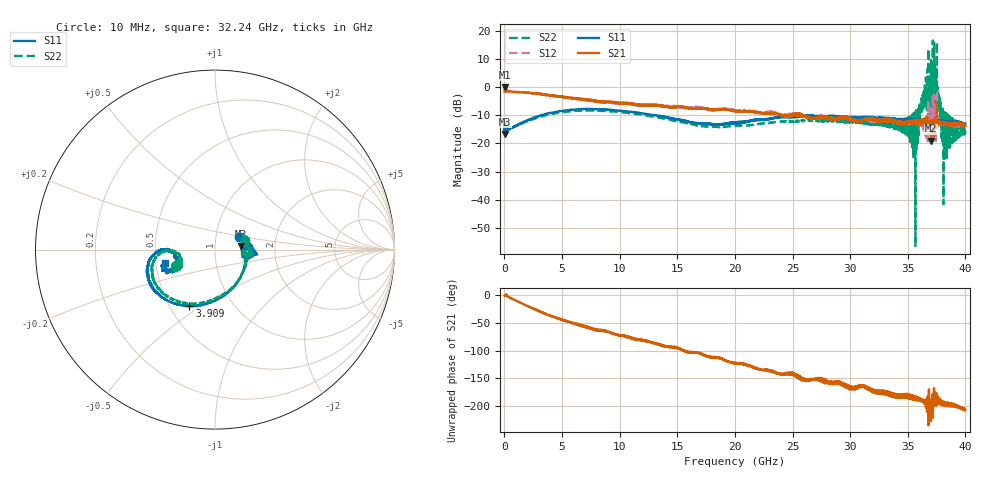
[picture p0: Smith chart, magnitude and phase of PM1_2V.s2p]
!Agilent Technologies,E8361A,US43140833,A.07.50.48
!Agilent E8361A: A.07.50.48
!Date: Sunday, January 17, 2016 15:48:53
!Correction: S11(Full 2 Port(1,2))
!S21(Full 2 Port(1,2))
!S12(Full 2 Port(1,2))
!S22(Full 2 Port(1,2))
!S2P File: Measurements: S11, S21, S12, S22:
# Hz S  dB  R 50
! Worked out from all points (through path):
!   3201 points, 10 MHz to 40 GHz, reference 50 ohm
!   highest |S21| = 0.06 dB at 72.48 MHz (marker M1); lowest = -19.1 dB at 37.01 GHz (marker M2)
!   lowest |S11| = -16.7 dB at 47.49 MHz (marker M3), VSWR 1.34, Z = 67 + j2.44 ohm
!   |S11| at or under -10 dB: start of sweep to 3.213 GHz; 13.01349 GHz to 13.07473 GHz (61.24 MHz wide, 0.469 % of centre); 13.09 GHz to end of sweep
!   |S22| runs from -56.5 to 16.6 dB; largest |S21 - S12| = 1.1
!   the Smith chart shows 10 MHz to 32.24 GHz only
!   S11 on the Smith chart (normalised r, x): 10 MHz: 1.30, +0.19; 3.909 GHz: 0.63, -0.45; 32.24 GHz: 0.56, -0.09
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1e7  -16.25 27.6  -1.61 -1.2  -0.44 8.6  -15.17 18.3
4.749062e7  -16.66 7.0  -0.70 -1.5  -1.51 -1.7  -16.20 3.5
7.248438e7  -12.69 -5.8  0.06 -0.2  -1.57 -1.1  -13.58 -0.5
3.909025e9  -9.23 -114.3  -2.87 -36.9  -3.00 -35.6  -9.65 -113.3
6.683331e9  -7.80 -145.3  -4.18 -54.9  -4.28 -54.9  -8.36 -144.0
1.334417e10  -10.21 -179.4  -6.46 -88.0  -6.41 -90.5  -10.86 -178.1
2.0005e10  -13.06 -158.4  -8.47 -123.0  -8.33 -122.6  -13.80 -157.3
2.667833e10  -10.24 -158.6  -10.89 -151.2  -10.63 -151.1  -11.99 -154.4
3.223944e10  -10.79 -165.2  -11.33 -174.7  -12.20 -170.3  -13.44 -158.3
3.333917e10  -11.34 -165.8  -12.45 -176.4  -11.75 -179.0  -12.19 -162.3
3.556361e10  -11.94 -166.9  -12.60 171.6  -12.81 172.4  -23.11 -109.4
3.648838e10  -11.91 -167.6  -11.17 170.7  -12.22 178.5  -0.12 -124.5
3.688828e10  -12.04 -166.6  -13.49 164.4  -12.16 166.1  -3.63 -171.3
3.696326e10  -12.26 -167.7  -12.30 163.7  -12.58 164.0  -4.81 -177.2
3.701325e10  -11.87 -164.4  -19.06 133.3  -7.44 160.9  9.66 -28.6
3.731317e10  -12.37 -163.5  -12.67 -177.5  -15.76 164.7  -3.01 -103.8
3.737566e10  -11.91 -166.6  -13.25 -176.5  -8.24 156.5  8.18 -179.3
3.743814e10  -12.62 -165.8  -13.07 160.2  -16.49 178.5  -3.58 121.9
3.768808e10  -11.99 -163.4  -12.32 174.0  -12.88 167.0  -4.95 -122.0
3.773807e10  -12.74 -167.9  -13.15 164.1  -13.25 160.7  -8.18 122.1
3.820045e10  -12.99 -162.8  -13.26 160.5  -12.88 162.0  -25.42 132.0
4e10  -13.06 -164.3  -13.83 153.1  -13.66 154.3  -16.65 -155.0
